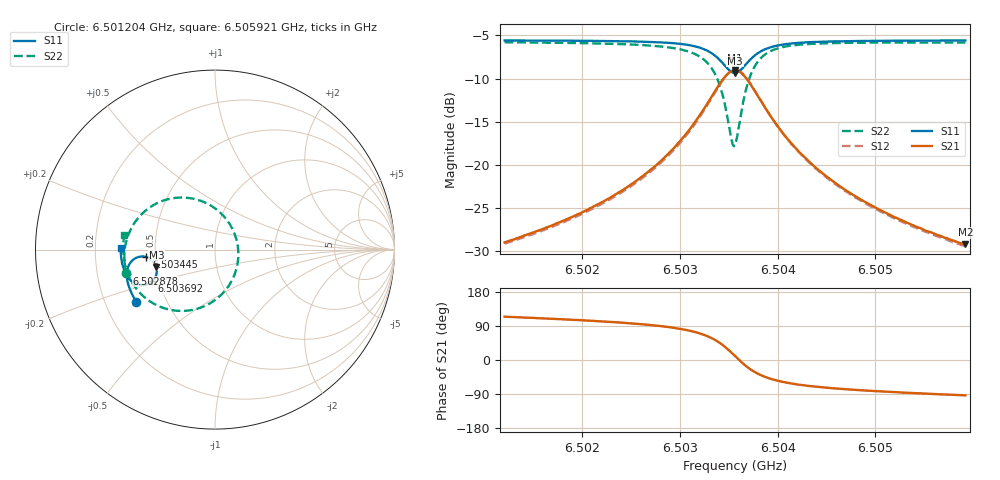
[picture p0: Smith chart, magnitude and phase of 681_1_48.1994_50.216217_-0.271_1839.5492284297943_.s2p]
#  HZ  S  RI  R  50.00
! Rohde & Schwarz Vector Network Analyzer
! Rohde-Schwarz,ZNB20-2Port,1311601062101988,3.16
! Created: UTC 3/20/2024, 12:06:38 PM
! freq[Hz]  re:S11  im:S11  re:S21  im:S21  re:S12  im:S12  re:S22  im:S22
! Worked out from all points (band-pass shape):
!   401 points, 6.501204 GHz to 6.505921 GHz, reference 50 ohm
!   highest |S21| = -9.04 dB at 6.503562 GHz (marker M1); lowest = -29.2 dB at 6.505921 GHz (marker M2)
!   |S21| within 3 dB of the highest: 6.503326 GHz to 6.503797 GHz (471.8 kHz wide, 0.00725 % of centre)
!   lowest |S11| = -9.4 dB at 6.503562 GHz (marker M3), VSWR 2.03, Z = 25 - j5.44 ohm
!   |S11| at or under -10 dB: nowhere
!   |S22| runs from -17.8 to -5.8 dB; largest |S21 - S12| = 0.014
!   S11 on the Smith chart (normalised r, x): 6.501204 GHz: 0.34, -0.27; 6.502878 GHz: 0.33, -0.12; 6.503445 GHz: 0.45, -0.04; 6.503692 GHz: 0.46, -0.19; 6.505921 GHz: 0.31, +0.01
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6.5012039e9  -0.4387 -0.2897  -0.0146 0.0325  -0.0126 0.0327  -0.496 -0.1327
6.501994e9  -0.4706 -0.2292  -0.0135 0.0514  -0.0108 0.0509  -0.5052 -0.045
6.5024185e9  -0.4844 -0.1901  -0.0103 0.0712  -0.00683 0.0699  -0.4999 0.0189
6.5027841e9  -0.4916 -0.1475  0.000106 0.1032  0.00425 0.1005  -0.4767 0.0974
6.5028785e9  -0.4918 -0.1341  0.00598 0.1158  0.0104 0.1125  -0.4638 0.124
6.5030789e9  -0.4855 -0.0995  0.0312 0.1526  0.0357 0.1474  -0.4112 0.195
6.5032204e9  -0.4686 -0.0691  0.0734 0.1874  0.077 0.1807  -0.3301 0.2549
6.5033502e9  -0.4305 -0.0425  0.1542 0.2134  0.1559 0.2058  -0.183 0.2901
6.5034445e9  -0.3819 -0.041  0.2495 0.1944  0.2506 0.1883  -0.0182 0.2422
6.5035271e9  -0.3378 -0.0729  0.3299 0.1153  0.3331 0.1089  0.11 0.0859
6.5035624e9  -0.3268 -0.0963  0.3473 0.0642  0.3516 0.0563  0.13 -0.0104
6.503586e9  -0.324 -0.1134  0.3504 0.0281  0.3547 0.0188  0.126 -0.0767
6.5036214e9  -0.3268 -0.1386  0.3419 -0.0241  0.3453 -0.0356  0.0957 -0.169
6.5036922e9  -0.3507 -0.177  0.292 -0.1026  0.2909 -0.1165  -0.0213 -0.2954
6.5037393e9  -0.3725 -0.1909  0.2498 -0.1318  0.2458 -0.1451  -0.109 -0.3321
6.5037983e9  -0.3984 -0.1975  0.2007 -0.1483  0.1942 -0.1596  -0.2051 -0.3411
6.5039398e9  -0.444 -0.1891  0.1187 -0.1446  0.1102 -0.1508  -0.353 -0.2944
6.5041049e9  -0.4737 -0.1676  0.0693 -0.1222  0.0616 -0.125  -0.433 -0.2246
6.5043526e9  -0.4963 -0.1361  0.0353 -0.0942  0.0297 -0.0948  -0.4817 -0.1445
6.5047181e9  -0.5121 -0.0965  0.0151 -0.0685  0.0113 -0.0682  -0.5052 -0.0657
6.5051427e9  -0.5209 -0.0561  0.00529 -0.0514  0.00255 -0.0506  -0.5114 -0.0021
6.505921e9  -0.5257 0.0107  -0.00206 -0.0346  -0.00365 -0.0337  -0.5044 0.0841
